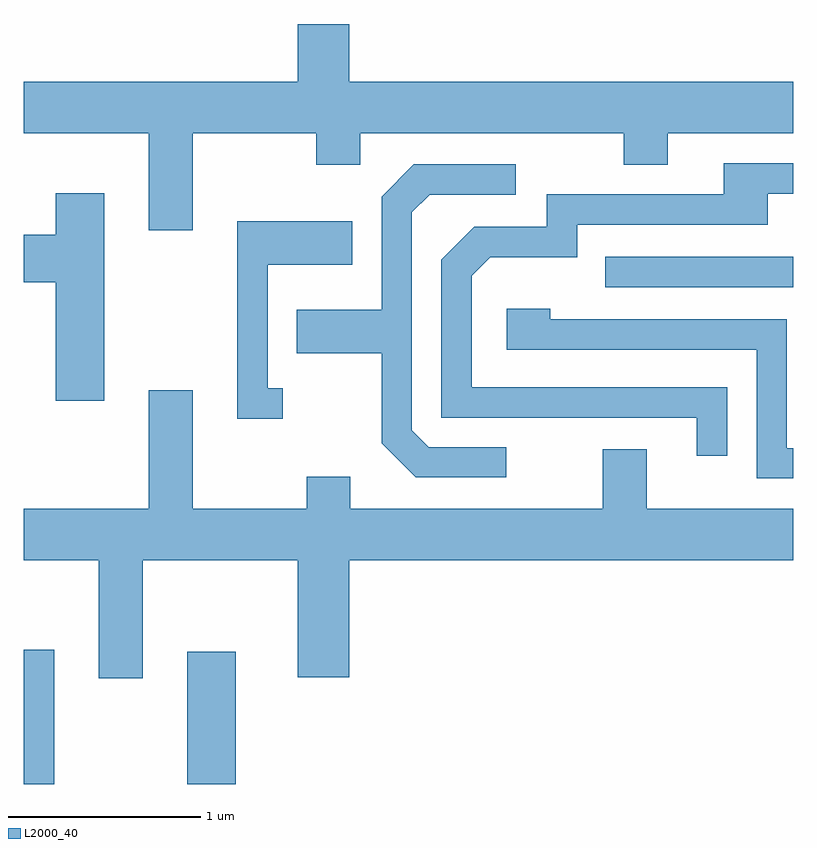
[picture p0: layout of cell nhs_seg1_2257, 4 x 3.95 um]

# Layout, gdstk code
import gdstk
lib = gdstk.Library(unit=1e-6, precision=1e-09)
def R(c, l, rs):  # rectangles x0, y0, x1, y1
    for r in rs: c.add(gdstk.rectangle(r[:2], r[2:], *l))
def P(c, l, *ps):  # polygons
    for p in ps: c.add(gdstk.Polygon(p, *l))
L2000_40 = (2000, 40)

nhs_seg1_2257 = lib.new_cell('nhs_seg1_2257')
R(nhs_seg1_2257, L2000_40, [(253.611,931.712,253.769,932.409), (254.461,931.712,254.714,932.399), (256.633,934.296,257.611,934.454)])
P(nhs_seg1_2257, L2000_40, [(254.489,935.096),(255.131,935.096),(255.131,934.931),(255.359,934.931),(255.359,935.096),(256.731,935.096),(256.731,934.931),(256.959,934.931),(256.959,935.096),(257.611,935.096),(257.611,935.364),(255.304,935.364),(255.304,935.664),(255.036,935.664),(255.036,935.364),(253.611,935.364),(253.611,935.096),(254.261,935.096),(254.261,934.591),(254.489,934.591)],
  [(257.269,933.774),(255.939,933.774),(255.939,934.354),(256.037,934.451),(256.489,934.451),(256.489,934.621),(257.479,934.621),(257.479,934.781),(257.611,934.781),(257.611,934.939),(257.251,934.939),(257.251,934.779),(256.331,934.779),(256.331,934.609),(255.954,934.609),(255.781,934.437),(255.781,933.616),(257.111,933.616),(257.111,933.418),(257.269,933.418)],
  [(256.118,933.464),(255.717,933.464),(255.629,933.552),(255.629,934.684),(255.722,934.776),(256.168,934.776),(256.168,934.934),(255.639,934.934),(255.471,934.767),(255.471,934.179),(255.031,934.179),(255.031,933.951),(255.471,933.951),(255.471,933.484),(255.649,933.306),(256.118,933.306)],
  [(254.029,934.784),(253.776,934.784),(253.776,934.569),(253.611,934.569),(253.611,934.321),(253.776,934.321),(253.776,933.706),(254.029,933.706)],
  [(254.958,933.769),(254.879,933.769),(254.879,934.411),(255.319,934.411),(255.319,934.639),(254.721,934.639),(254.721,933.611),(254.958,933.611)],
  [(257.611,933.459),(257.579,933.459),(257.579,934.129),(256.349,934.129),(256.349,934.184),(256.121,934.184),(256.121,933.971),(257.421,933.971),(257.421,933.301),(257.611,933.301)],
  [(254.229,932.876),(255.036,932.876),(255.036,932.266),(255.304,932.266),(255.304,932.876),(257.611,932.876),(257.611,933.144),(256.849,933.144),(256.849,933.454),(256.621,933.454),(256.621,933.144),(255.309,933.144),(255.309,933.309),(255.081,933.309),(255.081,933.144),(254.489,933.144),(254.489,933.759),(254.261,933.759),(254.261,933.144),(253.611,933.144),(253.611,932.876),(254.001,932.876),(254.001,932.261),(254.229,932.261)])

lib.write_gds('nhs_seg1_2257.gds')
